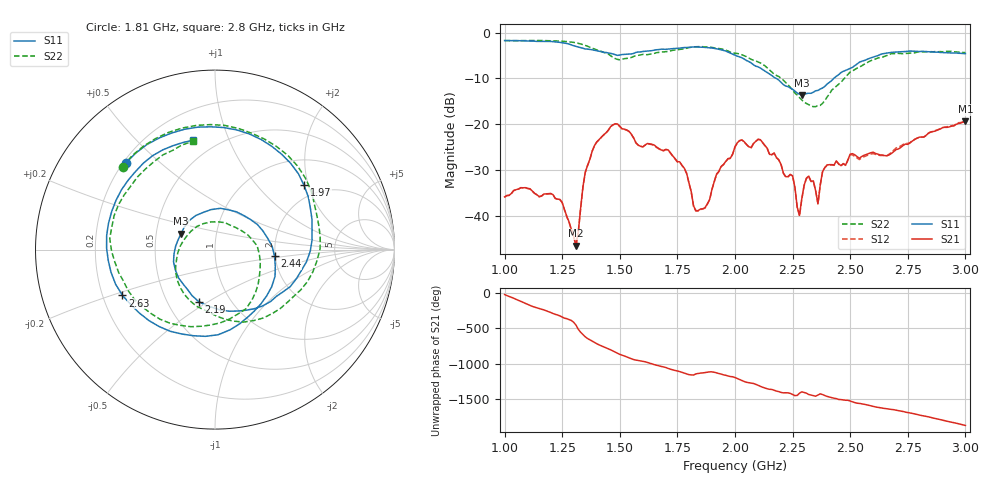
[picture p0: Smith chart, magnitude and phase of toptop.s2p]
#  HZ  S  DB  R  50.00
! Rohde & Schwarz ZVA40 4Ports - Version 4.11 - 1145.1110k42 SN: 100302
! Date: 2022-08-19 12:23:37
! Measurements: S11 S21 S12 S22
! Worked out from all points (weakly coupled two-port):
!   201 points, 1 GHz to 3 GHz, reference 50 ohm
!   highest |S21| = -19.31 dB at 3 GHz (marker M1); lowest = -46.5 dB at 1.31 GHz (marker M2)
!   lowest |S11| = -13.6 dB at 2.29 GHz (marker M3), VSWR 1.53, Z = 33.6 + j6.25 ohm
!   |S11| at or under -10 dB: 2.179 GHz to 2.429 GHz (249.6 MHz wide, 10.8 % of centre)
!   |S22| runs from -16.1 to -1.7 dB; largest |S21 - S12| = 0.0097
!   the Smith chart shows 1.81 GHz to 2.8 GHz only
!   S11 on the Smith chart (normalised r, x): 1.81 GHz: 0.21, +0.39; 1.97 GHz: 1.64, +1.87; 2.19 GHz: 0.71, -0.45; 2.44 GHz: 1.98, -0.17; 2.63 GHz: 0.28, -0.22; 2.8 GHz: 0.38, +0.75
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1e9  -1.74 17.0  -35.81 -20.5  -35.87 -19.6  -1.75 15.8
1.11e9  -1.84 -99.2  -34.04 -174.5  -34.08 -173.2  -1.75 -99.8
1.2e9  -1.93 -179.7  -35.06 85.2  -35.12 87.2  -1.78 179.3
1.31e9  -3.03 93.4  -46.46 -94.5  -46.55 -93.0  -2.23 92.8
1.34e9  -3.42 72.9  -33.63 132.8  -33.70 134.6  -2.63 69.7
1.47e9  -4.66 -12.5  -20.12 -100.3  -20.15 -98.9  -5.39 -16.8
1.58e9  -4.24 -77.7  -24.53 124.8  -24.57 127.5  -4.97 -73.8
1.67e9  -3.71 -136.7  -25.30 49.0  -25.38 51.7  -4.32 -130.5
1.81e9  -3.19 135.9  -34.65 -79.3  -34.71 -77.3  -3.20 138.1
1.87e9  -3.24 97.9  -38.16 -46.4  -38.23 -46.8  -3.10 98.5
1.97e9  -4.27 35.8  -27.46 -95.1  -27.51 -95.5  -4.03 31.4
2e9  -4.94 17.5  -24.89 -116.6  -24.93 -115.1  -4.53 13.5
2.19e9  -10.36 -107.6  -27.72 44.1  -27.76 48.1  -9.58 -108.4
2.29e9  -13.60 154.8  -36.18 40.6  -36.27 45.1  -14.70 165.3
2.34e9  -12.99 95.5  -32.32 -11.2  -32.41 -7.3  -16.14 99.1
2.36e9  -12.61 70.6  -37.26 -4.9  -37.33 -0.9  -15.91 69.7
2.44e9  -9.52 -6.5  -27.97 -56.2  -28.05 -52.0  -11.68 -14.6
2.54e9  -6.47 -88.0  -27.39 -123.3  -27.69 -117.8  -7.51 -93.4
2.63e9  -4.80 -153.7  -26.66 175.1  -26.80 -178.5  -5.43 -154.9
2.67e9  -4.38 179.3  -26.64 156.5  -26.46 164.6  -4.79 -179.1
2.8e9  -4.13 101.3  -22.79 72.1  -22.89 78.8  -4.21 101.7
3e9  -4.59 -8.4  -19.31 -75.8  -19.25 -71.5  -4.37 -8.8
